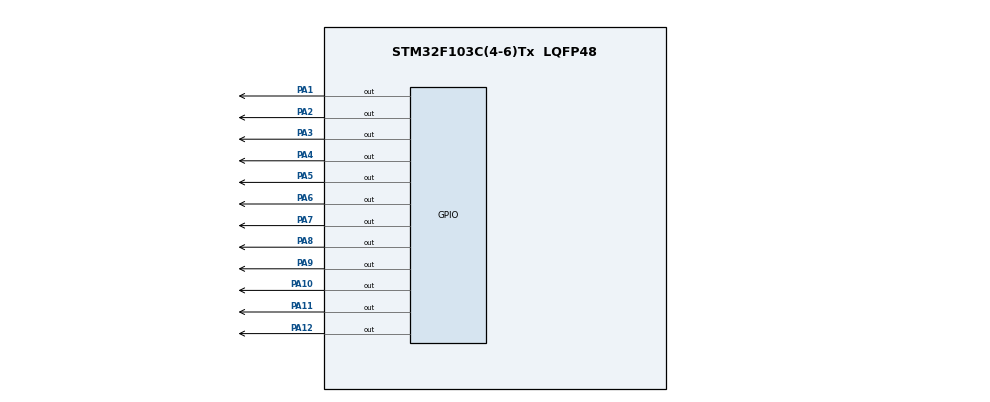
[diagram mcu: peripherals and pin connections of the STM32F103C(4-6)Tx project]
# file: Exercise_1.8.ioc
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Mcu.Family=STM32F1
Mcu.Name=STM32F103C(4-6)Tx
Mcu.Package=LQFP48
NVIC.PriorityGroup=NVIC_PRIORITYGROUP_4
PA1.Signal=GPIO_Output
PA10.Signal=GPIO_Output
PA11.Signal=GPIO_Output
PA12.Signal=GPIO_Output
PA2.Signal=GPIO_Output
PA3.Signal=GPIO_Output
PA4.Signal=GPIO_Output
PA5.Signal=GPIO_Output
PA6.Signal=GPIO_Output
PA7.Signal=GPIO_Output
PA8.Signal=GPIO_Output
PA9.Signal=GPIO_Output
ProjectManager.HeapSize=0x200
ProjectManager.StackSize=0x400
ProjectManager.TargetToolchain=STM32CubeIDE
RCC.APB1Freq_Value=8000000
RCC.APB2Freq_Value=8000000
board=custom

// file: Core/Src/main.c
/* USER CODE BEGIN Header */
/**
  ******************************************************************************
  * @file           : main.c
  * @brief          : Main program body
  ******************************************************************************
  * @attention
  *
  * Copyright (c) 2025 STMicroelectronics.
  * All rights reserved.
  *
  * This software is licensed under terms that can be found in the LICENSE file
  * in the root directory of this software component.
  * If no LICENSE file comes with this software, it is provided AS-IS.
  *
  ******************************************************************************
  */
/* USER CODE END Header */
#include "main.h"

void SystemClock_Config(void);
static void MX_GPIO_Init(void);
/* USER CODE BEGIN PFP */
void TurnOnClock(int num);
void ClearAllClock();
/* USER CODE END PFP */

/* USER CODE BEGIN 0 */
void TurnOnClock(int num){
	switch (num){
		case 0:
			HAL_GPIO_WritePin(GPIOA, GPIO_PIN_12, SET);
			break;
		case 1:
			HAL_GPIO_WritePin(GPIOA, GPIO_PIN_1, SET);
			break;
		case 2:
			HAL_GPIO_WritePin(GPIOA, GPIO_PIN_2, SET);
			break;
		case 3:
			HAL_GPIO_WritePin(GPIOA, GPIO_PIN_3, SET);
			break;
		case 4:
			HAL_GPIO_WritePin(GPIOA, GPIO_PIN_4, SET);
			break;
		case 5:
			HAL_GPIO_WritePin(GPIOA, GPIO_PIN_5, SET);
			break;
		case 6:
			HAL_GPIO_WritePin(GPIOA, GPIO_PIN_6, SET);
			break;
		case 7:
			HAL_GPIO_WritePin(GPIOA, GPIO_PIN_7, SET);
			break;
		case 8:
			HAL_GPIO_WritePin(GPIOA, GPIO_PIN_8, SET);
			break;
		case 9:
			HAL_GPIO_WritePin(GPIOA, GPIO_PIN_9, SET);
			break;
		case 10:
			HAL_GPIO_WritePin(GPIOA, GPIO_PIN_10, SET);
			break;
		case 11:
			HAL_GPIO_WritePin(GPIOA, GPIO_PIN_11, SET);
			break;
		default:
			HAL_GPIO_WritePin(GPIOA, GPIO_PIN_1|GPIO_PIN_2|GPIO_PIN_3|GPIO_PIN_4|GPIO_PIN_5|GPIO_PIN_6|GPIO_PIN_7|GPIO_PIN_8|GPIO_PIN_9|GPIO_PIN_10|GPIO_PIN_11|GPIO_PIN_12, SET);
			break;
	}
}

void ClearAllClock(){
	HAL_GPIO_WritePin(GPIOA, GPIO_PIN_1|GPIO_PIN_2|GPIO_PIN_3|GPIO_PIN_4|GPIO_PIN_5|GPIO_PIN_6|GPIO_PIN_7|GPIO_PIN_8|GPIO_PIN_9|GPIO_PIN_10|GPIO_PIN_11|GPIO_PIN_12, RESET);
}
/* USER CODE END 0 */

int main(void)
{

  /* MCU Configuration--------------------------------------------------------*/

  /* Reset of all peripherals, Initializes the Flash interface and the Systick. */
  HAL_Init();

  /* Configure the system clock */
  SystemClock_Config();

  /* Initialize all configured peripherals */
  MX_GPIO_Init();
  /* USER CODE BEGIN 2 */
  int time = 0;
  /* USER CODE END 2 */

  /* Infinite loop */
  /* USER CODE BEGIN WHILE */
  while (1)
  {
	  HAL_Delay(1000);
	  if(time > 11){
		  ClearAllClock();
		  time = 0;
	  }
	  TurnOnClock(time);
	  time++;

    /* USER CODE END WHILE */

  }
}

void SystemClock_Config(void)
{
  RCC_OscInitTypeDef RCC_OscInitStruct = {0};
  RCC_ClkInitTypeDef RCC_ClkInitStruct = {0};

  /** Initializes the RCC Oscillators according to the specified parameters
  * in the RCC_OscInitTypeDef structure.
  */
  RCC_OscInitStruct.OscillatorType = RCC_OSCILLATORTYPE_HSI;
  RCC_OscInitStruct.HSIState = RCC_HSI_ON;
  RCC_OscInitStruct.HSICalibrationValue = RCC_HSICALIBRATION_DEFAULT;
  RCC_OscInitStruct.PLL.PLLState = RCC_PLL_NONE;
  if (HAL_RCC_OscConfig(&RCC_OscInitStruct) != HAL_OK)
  {
    Error_Handler();
  }

  /** Initializes the CPU, AHB and APB buses clocks
  */
  RCC_ClkInitStruct.ClockType = RCC_CLOCKTYPE_HCLK|RCC_CLOCKTYPE_SYSCLK
                              |RCC_CLOCKTYPE_PCLK1|RCC_CLOCKTYPE_PCLK2;
  RCC_ClkInitStruct.SYSCLKSource = RCC_SYSCLKSOURCE_HSI;
  RCC_ClkInitStruct.AHBCLKDivider = RCC_SYSCLK_DIV1;
  RCC_ClkInitStruct.APB1CLKDivider = RCC_HCLK_DIV1;
  RCC_ClkInitStruct.APB2CLKDivider = RCC_HCLK_DIV1;

  if (HAL_RCC_ClockConfig(&RCC_ClkInitStruct, FLASH_LATENCY_0) != HAL_OK)
  {
    Error_Handler();
  }
}

static void MX_GPIO_Init(void)
{
  GPIO_InitTypeDef GPIO_InitStruct = {0};

  /* GPIO Ports Clock Enable */
  __HAL_RCC_GPIOA_CLK_ENABLE();

  /*Configure GPIO pin Output Level */
  HAL_GPIO_WritePin(GPIOA, GPIO_PIN_1|GPIO_PIN_2|GPIO_PIN_3|GPIO_PIN_4
                          |GPIO_PIN_5|GPIO_PIN_6|GPIO_PIN_7|GPIO_PIN_8
                          |GPIO_PIN_9|GPIO_PIN_10|GPIO_PIN_11|GPIO_PIN_12, GPIO_PIN_RESET);

  /*Configure GPIO pins : PA1 PA2 PA3 PA4
                           PA5 PA6 PA7 PA8
                           PA9 PA10 PA11 PA12 */
  GPIO_InitStruct.Pin = GPIO_PIN_1|GPIO_PIN_2|GPIO_PIN_3|GPIO_PIN_4
                          |GPIO_PIN_5|GPIO_PIN_6|GPIO_PIN_7|GPIO_PIN_8
                          |GPIO_PIN_9|GPIO_PIN_10|GPIO_PIN_11|GPIO_PIN_12;
  GPIO_InitStruct.Mode = GPIO_MODE_OUTPUT_PP;
  GPIO_InitStruct.Pull = GPIO_NOPULL;
  GPIO_InitStruct.Speed = GPIO_SPEED_FREQ_LOW;
  HAL_GPIO_Init(GPIOA, &GPIO_InitStruct);

}

void Error_Handler(void)
{
  __disable_irq();
  while (1)
  {
  }
}
